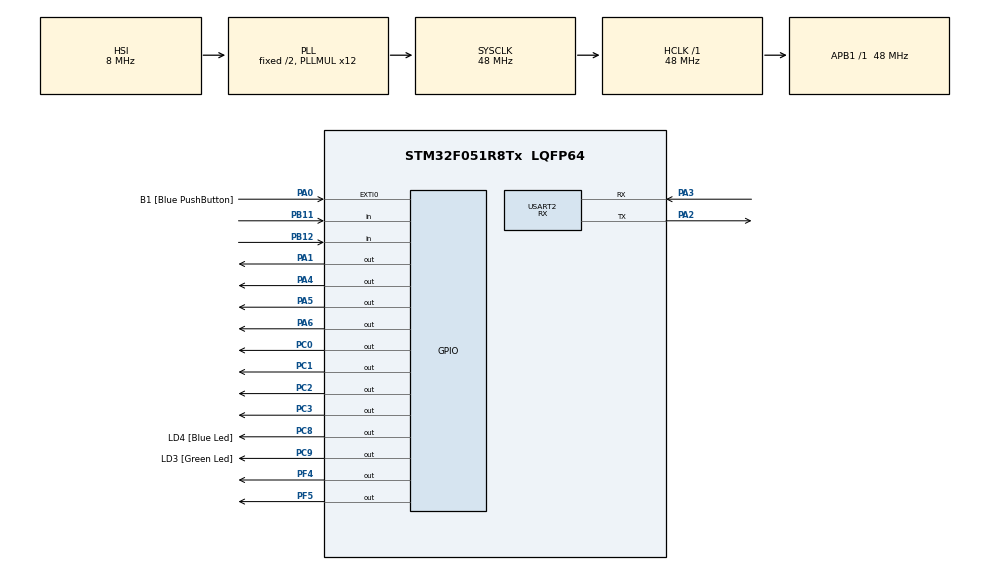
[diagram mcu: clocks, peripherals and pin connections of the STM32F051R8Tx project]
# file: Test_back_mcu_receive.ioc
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Mcu.Family=STM32F0
Mcu.Name=STM32F051R8Tx
Mcu.Package=LQFP64
PA0.GPIO_Label=B1 [Blue PushButton]
PA0.GPIO_ModeDefaultEXTI=GPIO_MODE_EVT_RISING
PA0.Signal=GPXTI0
PA1.Signal=GPIO_Output
PA13.GPIO_Label=SWDIO
PA13.Mode=Serial_Wire
PA13.Signal=SYS_SWDIO
PA14.GPIO_Label=SWCLK
PA14.Mode=Serial_Wire
PA14.Signal=SYS_SWCLK
PA2.Mode=Asynchronous
PA2.Signal=USART2_TX
PA3.Mode=Asynchronous
PA3.Signal=USART2_RX
PA4.Signal=GPIO_Output
PA5.Signal=GPIO_Output
PA6.Signal=GPIO_Output
PB11.Signal=GPIO_Input
PB12.Signal=GPIO_Input
PC0.Signal=GPIO_Output
PC1.Signal=GPIO_Output
PC2.Signal=GPIO_Output
PC3.Signal=GPIO_Output
PC8.GPIO_Label=LD4 [Blue Led]
PC8.Signal=GPIO_Output
PC9.GPIO_Label=LD3 [Green Led]
PC9.Signal=GPIO_Output
PF4.Signal=GPIO_Output
PF5.Signal=GPIO_Output
ProjectManager.HeapSize=0x200
ProjectManager.StackSize=0x400
ProjectManager.TargetToolchain=STM32CubeIDE
RCC.AHBFreq_Value=48000000
RCC.APB1Freq_Value=48000000
RCC.APB1TimFreq_Value=48000000
RCC.HCLKFreq_Value=48000000
RCC.PLLMUL=RCC_PLL_MUL12
RCC.SYSCLKFreq_VALUE=48000000
RCC.SYSCLKSource=RCC_SYSCLKSOURCE_PLLCLK
USART2.Mode=MODE_RX
USART2.VirtualMode-Asynchronous=VM_ASYNC
board=STM32F0DISCOVERY

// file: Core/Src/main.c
/* USER CODE BEGIN Header */
/**
  ******************************************************************************
  * @file           : main.c
  * @brief          : Main program body
  ******************************************************************************
  * @attention
  *
  * <h2><center>&copy; Copyright (c) 2020 STMicroelectronics.
  * All rights reserved.</center></h2>
  *
  * This software component is licensed by ST under BSD 3-Clause license,
  * the "License"; You may not use this file except in compliance with the
  * License. You may obtain a copy of the License at:
  *                        opensource.org/licenses/BSD-3-Clause
  *
  ******************************************************************************
  */
/* USER CODE END Header */

#include "main.h"

UART_HandleTypeDef huart2;

void SystemClock_Config(void);
static void MX_GPIO_Init(void);
static void MX_USART2_UART_Init(void);

int main(void)
{

  /* MCU Configuration--------------------------------------------------------*/

  /* Reset of all peripherals, Initializes the Flash interface and the Systick. */
  HAL_Init();

  /* Configure the system clock */
  SystemClock_Config();

  /* Initialize all configured peripherals */
  MX_GPIO_Init();
  MX_USART2_UART_Init();

  /* Infinite loop */
  /* USER CODE BEGIN WHILE */
  while (1)
  {

	  uint8_t x;
	  HAL_UART_Receive(&huart2,  &x,  1U,  0xFFFF);

	  if (x == 1)
	  	  	  	  	      {
		  	  	  	  	  	  HAL_GPIO_WritePin(GPIOC, GPIO_PIN_0,GPIO_PIN_RESET);
	  	  	  	  	    	  HAL_Delay(50); //delay 100ms
	  	  	  	  	    	  HAL_GPIO_WritePin(GPIOC, GPIO_PIN_1,GPIO_PIN_RESET);
	  	  	  	  	    	  HAL_Delay(40);
	  	  	  	  	    	  HAL_GPIO_WritePin(GPIOC, GPIO_PIN_2,GPIO_PIN_RESET);
	  	  	  	  	    	  HAL_Delay(30);
	  	  	  	  	    	  HAL_GPIO_WritePin(GPIOC, GPIO_PIN_3,GPIO_PIN_RESET);
	  	  	  	  	    	  HAL_Delay(20);
	  	  	  	  	    	  HAL_GPIO_WritePin(GPIOA, GPIO_PIN_1,GPIO_PIN_RESET);
	  	  	  	  	    	  HAL_Delay(10);
	  	  	  	  	      } else if (x == 3)
	  	  	  	  	      {
	  	  	  	  	    	  HAL_GPIO_WritePin(GPIOC, GPIO_PIN_0,GPIO_PIN_SET);
	  	  	  	  	    	  HAL_GPIO_WritePin(GPIOC, GPIO_PIN_1,GPIO_PIN_SET);
	  	  	  	  	    	  HAL_GPIO_WritePin(GPIOC, GPIO_PIN_2,GPIO_PIN_SET);
	  	  	  	  	    	  HAL_GPIO_WritePin(GPIOC, GPIO_PIN_3,GPIO_PIN_SET);
	  	  	  	  	    	  HAL_GPIO_WritePin(GPIOA, GPIO_PIN_1,GPIO_PIN_SET);

	  	  	  	  	      }
	  	  	  	  	      if (x == 2)
	  	  	  	  	      {
		  	  	  	  	  	  HAL_GPIO_WritePin(GPIOF, GPIO_PIN_4,GPIO_PIN_RESET);
	  	  	  	  	    	  HAL_Delay(50);
		  	  	  	  	  	  HAL_GPIO_WritePin(GPIOF, GPIO_PIN_5,GPIO_PIN_RESET);
	  	  	  	  	    	  HAL_Delay(40);
		  	  	  	  	  	  HAL_GPIO_WritePin(GPIOA, GPIO_PIN_4,GPIO_PIN_RESET);
	  	  	  	  	    	  HAL_Delay(30);
		  	  	  	  	  	  HAL_GPIO_WritePin(GPIOA, GPIO_PIN_5,GPIO_PIN_RESET);
	  	  	  	  	    	  HAL_Delay(20);
		  	  	  	  	  	  HAL_GPIO_WritePin(GPIOA, GPIO_PIN_6,GPIO_PIN_RESET);
	  	  	  	  	    	  HAL_Delay(10);
	  	  	  	  	      } else if ( x == 3 )
	  	  	  	  	      {
	  	  	  	  	    	  HAL_GPIO_WritePin(GPIOF, GPIO_PIN_4,GPIO_PIN_SET);
	  	  	  	  	    	  HAL_GPIO_WritePin(GPIOF, GPIO_PIN_5,GPIO_PIN_SET);
	  	  	  	  	    	  HAL_GPIO_WritePin(GPIOA, GPIO_PIN_4,GPIO_PIN_SET);
	  	  	  	  	    	  HAL_GPIO_WritePin(GPIOA, GPIO_PIN_5,GPIO_PIN_SET);
	  	  	  	  	    	  HAL_GPIO_WritePin(GPIOA, GPIO_PIN_6,GPIO_PIN_SET);
	  	  	  	  	      }
    /* USER CODE END WHILE */

  }
}

void SystemClock_Config(void)
{
  RCC_OscInitTypeDef RCC_OscInitStruct = {0};
  RCC_ClkInitTypeDef RCC_ClkInitStruct = {0};

  /** Initializes the CPU, AHB and APB busses clocks
  */
  RCC_OscInitStruct.OscillatorType = RCC_OSCILLATORTYPE_HSI;
  RCC_OscInitStruct.HSIState = RCC_HSI_ON;
  RCC_OscInitStruct.HSICalibrationValue = RCC_HSICALIBRATION_DEFAULT;
  RCC_OscInitStruct.PLL.PLLState = RCC_PLL_ON;
  RCC_OscInitStruct.PLL.PLLSource = RCC_PLLSOURCE_HSI;
  RCC_OscInitStruct.PLL.PLLMUL = RCC_PLL_MUL12;
  RCC_OscInitStruct.PLL.PREDIV = RCC_PREDIV_DIV1;
  if (HAL_RCC_OscConfig(&RCC_OscInitStruct) != HAL_OK)
  {
    Error_Handler();
  }
  /** Initializes the CPU, AHB and APB busses clocks
  */
  RCC_ClkInitStruct.ClockType = RCC_CLOCKTYPE_HCLK|RCC_CLOCKTYPE_SYSCLK
                              |RCC_CLOCKTYPE_PCLK1;
  RCC_ClkInitStruct.SYSCLKSource = RCC_SYSCLKSOURCE_PLLCLK;
  RCC_ClkInitStruct.AHBCLKDivider = RCC_SYSCLK_DIV1;
  RCC_ClkInitStruct.APB1CLKDivider = RCC_HCLK_DIV1;

  if (HAL_RCC_ClockConfig(&RCC_ClkInitStruct, FLASH_LATENCY_1) != HAL_OK)
  {
    Error_Handler();
  }
}

static void MX_USART2_UART_Init(void)
{

  huart2.Instance = USART2;
  huart2.Init.BaudRate = 38400;
  huart2.Init.WordLength = UART_WORDLENGTH_8B;
  huart2.Init.StopBits = UART_STOPBITS_1;
  huart2.Init.Parity = UART_PARITY_NONE;
  huart2.Init.Mode = UART_MODE_RX;
  huart2.Init.HwFlowCtl = UART_HWCONTROL_NONE;
  huart2.Init.OverSampling = UART_OVERSAMPLING_16;
  huart2.Init.OneBitSampling = UART_ONE_BIT_SAMPLE_DISABLE;
  huart2.AdvancedInit.AdvFeatureInit = UART_ADVFEATURE_NO_INIT;
  if (HAL_UART_Init(&huart2) != HAL_OK)
  {
    Error_Handler();
  }

}

static void MX_GPIO_Init(void)
{
  GPIO_InitTypeDef GPIO_InitStruct = {0};

  /* GPIO Ports Clock Enable */
  __HAL_RCC_GPIOA_CLK_ENABLE();
  __HAL_RCC_GPIOC_CLK_ENABLE();

  /*Configure GPIO pin Output Level */
  HAL_GPIO_WritePin(GPIOC, LD4_Pin|LD3_Pin, GPIO_PIN_RESET);

  /*Configure GPIO pin : B1_Pin */
  GPIO_InitStruct.Pin = B1_Pin;
  GPIO_InitStruct.Mode = GPIO_MODE_EVT_RISING;
  GPIO_InitStruct.Pull = GPIO_NOPULL;
  HAL_GPIO_Init(B1_GPIO_Port, &GPIO_InitStruct);

  /*Configure GPIO pins : LD4_Pin LD3_Pin */
  GPIO_InitStruct.Pin = LD4_Pin|LD3_Pin;
  GPIO_InitStruct.Mode = GPIO_MODE_OUTPUT_PP;
  GPIO_InitStruct.Pull = GPIO_NOPULL;
  GPIO_InitStruct.Speed = GPIO_SPEED_FREQ_LOW;
  HAL_GPIO_Init(GPIOC, &GPIO_InitStruct);

}

void Error_Handler(void)
{
}

/************************ (C) COPYRIGHT STMicroelectronics *****END OF FILE****/
